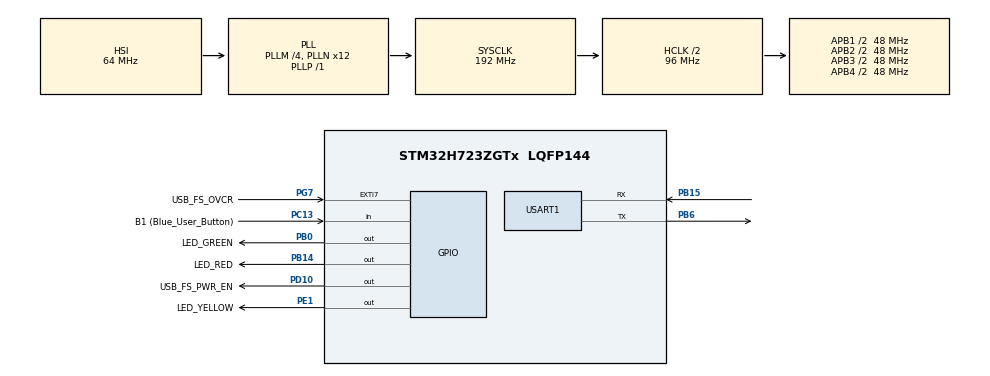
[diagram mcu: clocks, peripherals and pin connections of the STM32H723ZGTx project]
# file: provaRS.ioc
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Dma.Request0=USART1_RX
Dma.Request1=USART1_TX
Dma.USART1_RX.0.Direction=DMA_PERIPH_TO_MEMORY
Dma.USART1_RX.0.EventEnable=DISABLE
Dma.USART1_RX.0.FIFOMode=DMA_FIFOMODE_DISABLE
Dma.USART1_RX.0.Instance=DMA1_Stream0
Dma.USART1_RX.0.MemDataAlignment=DMA_MDATAALIGN_BYTE
Dma.USART1_RX.0.MemInc=DMA_MINC_ENABLE
Dma.USART1_RX.0.Mode=DMA_CIRCULAR
Dma.USART1_RX.0.PeriphDataAlignment=DMA_PDATAALIGN_BYTE
Dma.USART1_RX.0.PeriphInc=DMA_PINC_DISABLE
Dma.USART1_RX.0.Polarity=HAL_DMAMUX_REQ_GEN_RISING
Dma.USART1_RX.0.Priority=DMA_PRIORITY_LOW
Dma.USART1_RX.0.RequestNumber=1
Dma.USART1_RX.0.SignalID=NONE
Dma.USART1_RX.0.SyncEnable=DISABLE
Dma.USART1_RX.0.SyncPolarity=HAL_DMAMUX_SYNC_NO_EVENT
Dma.USART1_RX.0.SyncRequestNumber=1
Dma.USART1_RX.0.SyncSignalID=NONE
Dma.USART1_TX.1.Direction=DMA_MEMORY_TO_PERIPH
Dma.USART1_TX.1.EventEnable=DISABLE
Dma.USART1_TX.1.FIFOMode=DMA_FIFOMODE_DISABLE
Dma.USART1_TX.1.Instance=DMA1_Stream1
Dma.USART1_TX.1.MemDataAlignment=DMA_MDATAALIGN_BYTE
Dma.USART1_TX.1.MemInc=DMA_MINC_ENABLE
Dma.USART1_TX.1.Mode=DMA_NORMAL
Dma.USART1_TX.1.PeriphDataAlignment=DMA_PDATAALIGN_BYTE
Dma.USART1_TX.1.PeriphInc=DMA_PINC_DISABLE
Dma.USART1_TX.1.Polarity=HAL_DMAMUX_REQ_GEN_RISING
Dma.USART1_TX.1.Priority=DMA_PRIORITY_LOW
Dma.USART1_TX.1.RequestNumber=1
Dma.USART1_TX.1.SignalID=NONE
Dma.USART1_TX.1.SyncEnable=DISABLE
Dma.USART1_TX.1.SyncPolarity=HAL_DMAMUX_SYNC_NO_EVENT
Dma.USART1_TX.1.SyncRequestNumber=1
Dma.USART1_TX.1.SyncSignalID=NONE
Mcu.Family=STM32H7
Mcu.Name=STM32H723ZGTx
Mcu.Package=LQFP144
NVIC.DMA1_Stream0_IRQn=true\:0\:0\:false\:false\:true\:false\:true\:true
NVIC.DMA1_Stream1_IRQn=true\:0\:0\:false\:false\:true\:false\:true\:true
NVIC.PriorityGroup=NVIC_PRIORITYGROUP_4
NVIC.USART1_IRQn=true\:0\:0\:false\:false\:true\:true\:true\:true
PA1.GPIO_Label=RMII_REF_CLK
PA1.Signal=ETH_REF_CLK
PA10.GPIO_Label=USB_FS_ID
PA10.Signal=USB_OTG_HS_ID
PA13(JTMS/SWDIO).GPIO_Label=SWDIO
PA13(JTMS/SWDIO).Signal=DEBUG_JTMS-SWDIO
PA14(JTCK/SWCLK).GPIO_Label=SWCLK
PA14(JTCK/SWCLK).Signal=DEBUG_JTCK-SWCLK
PA2.GPIO_Label=RMII_MDIO
PA2.Signal=ETH_MDIO
PA7.GPIO_Label=RMII_CRS_DV
PA7.Signal=ETH_CRS_DV
PA9.GPIO_Label=USB_FS_VBUS
PA9.Signal=USB_OTG_HS_VBUS
PB0.GPIO_Label=LED_GREEN
PB0.Signal=GPIO_Output
PB13.GPIO_Label=RMII_TXD1
PB13.Signal=ETH_TXD1
PB14.GPIO_Label=LED_RED
PB14.Signal=GPIO_Output
PB15.Mode=Asynchronous
PB15.Signal=USART1_RX
PB3(JTDO/TRACESWO).GPIO_Label=SWO
PB3(JTDO/TRACESWO).Signal=DEBUG_JTDO-SWO
PB6.Mode=Asynchronous
PB6.Signal=USART1_TX
PC1.GPIO_Label=RMII_MDC
PC1.Signal=ETH_MDC
PC13.GPIO_Label=B1 (Blue_User_Button)
PC13.Signal=GPIO_Input
PC14-OSC32_IN.Signal=RCC_OSC32_IN
PC15-OSC32_OUT.Signal=RCC_OSC32_OUT
PC4.GPIO_Label=RMII_RXD0
PC4.Signal=ETH_RXD0
PC5.GPIO_Label=RMII_RXD1
PC5.Signal=ETH_RXD1
PD10.GPIO_Label=USB_FS_PWR_EN
PD10.Signal=GPIO_Output
PD8.GPIO_Label=STLK_VCP_RX
PD8.Signal=USART3_TX
PD9.GPIO_Label=STLK_VCP_TX
PD9.Signal=USART3_RX
PE1.GPIO_Label=LED_YELLOW
PE1.Signal=GPIO_Output
PG11.GPIO_Label=RMII_TX_EN
PG11.Signal=ETH_TX_EN
PG13.GPIO_Label=RMII_TXD0
PG13.Signal=ETH_TXD0
PG7.GPIO_Label=USB_FS_OVCR
PG7.Signal=GPXTI7
PH0-OSC_IN.GPIO_Label=MCO
PH0-OSC_IN.Signal=RCC_OSC_IN
PH1-OSC_OUT.Signal=RCC_OSC_OUT
ProjectManager.HeapSize=0x200
ProjectManager.StackSize=0x400
ProjectManager.TargetToolchain=STM32CubeIDE
RCC.ADCFreq_Value=608000000
RCC.APB1Freq_Value=48000000
RCC.APB2Freq_Value=48000000
RCC.APB3Freq_Value=48000000
RCC.APB4Freq_Value=48000000
RCC.CortexFreq_Value=192000000
RCC.D1PPRE=RCC_APB3_DIV2
RCC.D2PPRE1=RCC_APB1_DIV2
RCC.D2PPRE2=RCC_APB2_DIV2
RCC.D3PPRE=RCC_APB4_DIV2
RCC.DIVM1=4
RCC.DIVM2=1
RCC.DIVN1=12
RCC.DIVN2=19
RCC.DIVP1=1
RCC.DIVQ1=4
RCC.HCLKFreq_Value=96000000
RCC.HPRE=RCC_HCLK_DIV2
RCC.HSE_VALUE=8000000
RCC.PLLFRACN=0
RCC.SYSCLKFreq_VALUE=192000000
RCC.SYSCLKSource=RCC_SYSCLKSOURCE_PLLCLK
RCC.USBCLockSelection=RCC_USBCLKSOURCE_HSI48
RCC.USBFreq_Value=48000000
USART1.VirtualMode-Asynchronous=VM_ASYNC
board=NUCLEO-H723ZG

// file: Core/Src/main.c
/* USER CODE BEGIN Header */
/**
  ******************************************************************************
  * @file           : main.c
  * @brief          : Main program body
  ******************************************************************************
  * @attention
  *
  * Copyright (c) 2024 STMicroelectronics.
  * All rights reserved.
  *
  * This software is licensed under terms that can be found in the LICENSE file
  * in the root directory of this software component.
  * If no LICENSE file comes with this software, it is provided AS-IS.
  *
  ******************************************************************************
  */
/* USER CODE END Header */
#include "main.h"

/* USER CODE BEGIN Includes */
#include <string.h>
#include <stdio.h>
#include <math.h>
/* USER CODE END Includes */

UART_HandleTypeDef huart1;
DMA_HandleTypeDef hdma_usart1_rx;
DMA_HandleTypeDef hdma_usart1_tx;

/* USER CODE BEGIN PV */
#define UART_BUFFER_SIZE 16
__IO uint8_t uartBuffer[UART_BUFFER_SIZE];
//char uartBuffer[UART_BUFFER_SIZE];

/* USER CODE END PV */

void SystemClock_Config(void);
static void MX_GPIO_Init(void);
static void MX_DMA_Init(void);
static void MX_USART1_UART_Init(void);

/* USER CODE BEGIN 0 */
//char buffer_tx[UART_BUFFER_SIZE]="2~";
char *buffer_tx;

//char *write_command=buffer;

//lista comandi
char stop_distance_command[16]="%R8Q,2:\r";
char prism_search_command [16]="%R8Q,6:1\r";
char complete_prism_search_command [16]="%R8Q,6:2\r";
char get_time_stamp_command [18]="%R8Q,8:";
//char get_time_stamp_command[20];
char start_stream_command [16]="%R8Q,4:\r";
char stop_stream_command [16]="%R8Q,5:\r";
char client_time[10]="1603889027";

// init macchina a stati
int machine_state=1; //1 Ricerca Prisma // 2 Time Stamp // 3 Start Stream // 4 Stop Stream
//char machine_state;
int control =-1;
int control_1 =-1;
int t_1;//client time2
int t_2,t_3;//
char buffer_read[45];
char received_buffer[45];
char *trigger="%";

/* USER CODE END 0 */

int main(void)
{

  /* USER CODE BEGIN 1 */
	buffer_tx=stop_distance_command; //per agganciarsi
	//buffer_tx="~2";
	strcat(client_time, "\r");
	strcat(get_time_stamp_command, client_time);
	//sprintf(buffer, "%c",a);

  /* USER CODE END 1 */

  /* MCU Configuration--------------------------------------------------------*/

  /* Reset of all peripherals, Initializes the Flash interface and the Systick. */
  HAL_Init();

  /* Configure the system clock */
  SystemClock_Config();

  /* Initialize all configured peripherals */
  MX_GPIO_Init();
  MX_DMA_Init();
  MX_USART1_UART_Init();
  /* USER CODE BEGIN 2 */
  //memset((uint8_t *)&uartBuffer,0,sizeof(uartBuffer)); //Clear buffer
  //HAL_UART_Receive(&huart1, (uint8_t *)&uartBuffer, UART_BUFFER_SIZE,0);
  //HAL_UART_Receive_IT(&huart1, (uint8_t *)&uartBuffer, UART_BUFFER_SIZE);
  //HAL_UART_Receive(&huart1, (uint8_t *)&uartBuffer, UART_BUFFER_SIZE,0);
  //HAL_UART_Receive_DMA(&huart1, (uint8_t *)&uartBuffer, UART_BUFFER_SIZE);
  HAL_UART_Receive_DMA(&huart1, (uint8_t *)&uartBuffer, UART_BUFFER_SIZE);
  /* USER CODE END 2 */

  /* Infinite loop */
  /* USER CODE BEGIN WHILE */
  //uint16_t timer_time_1 =1000;
  int first_search=1;
  //int waited_time;
  HAL_GPIO_TogglePin(GPIOE, GPIO_PIN_1);
  while (1)
  {
    /* USER CODE END WHILE */

    /* USER CODE BEGIN 3 */

	  //HAL_UART_Transmit(&huart1, (uint8_t *)&uartBuffer, UART_BUFFER_SIZE,1);
	  //HAL_UART_Receive(&huart1, (uint8_t *)&uartBuffer, UART_BUFFER_SIZE,0);

	  //HAL_UART_Receive(&huart1, (uint8_t *)&uartBuffer, UART_BUFFER_SIZE,0);
	  //HAL_UART_Receive_IT(&huart1, (uint8_t *)&uartBuffer, UART_BUFFER_SIZE);

	  HAL_UART_Transmit(&huart1, (uint8_t *)buffer_tx, UART_BUFFER_SIZE,UART_BUFFER_SIZE); // ultimo valore è il timeout (ovvero dopo quanti baud si interrompe - con 0 mandava solo il 1° carattere)
	  HAL_Delay(1000);
	  HAL_GPIO_TogglePin(GPIOE, GPIO_PIN_1);
	  if (first_search==1){
		  buffer_tx=complete_prism_search_command;
		  first_search=0;
	  }
	  else{

		  buffer_tx=stop_distance_command;
		  first_search=1;
	  }
  }
  /* USER CODE END 3 */
}

void SystemClock_Config(void)
{
  RCC_OscInitTypeDef RCC_OscInitStruct = {0};
  RCC_ClkInitTypeDef RCC_ClkInitStruct = {0};

  /** Supply configuration update enable
  */
  HAL_PWREx_ConfigSupply(PWR_LDO_SUPPLY);

  /** Configure the main internal regulator output voltage
  */
  __HAL_PWR_VOLTAGESCALING_CONFIG(PWR_REGULATOR_VOLTAGE_SCALE2);

  while(!__HAL_PWR_GET_FLAG(PWR_FLAG_VOSRDY)) {}

  /** Initializes the RCC Oscillators according to the specified parameters
  * in the RCC_OscInitTypeDef structure.
  */
  RCC_OscInitStruct.OscillatorType = RCC_OSCILLATORTYPE_HSI;
  RCC_OscInitStruct.HSIState = RCC_HSI_DIV1;
  RCC_OscInitStruct.HSICalibrationValue = 64;
  RCC_OscInitStruct.PLL.PLLState = RCC_PLL_ON;
  RCC_OscInitStruct.PLL.PLLSource = RCC_PLLSOURCE_HSI;
  RCC_OscInitStruct.PLL.PLLM = 4;
  RCC_OscInitStruct.PLL.PLLN = 12;
  RCC_OscInitStruct.PLL.PLLP = 1;
  RCC_OscInitStruct.PLL.PLLQ = 4;
  RCC_OscInitStruct.PLL.PLLR = 2;
  RCC_OscInitStruct.PLL.PLLRGE = RCC_PLL1VCIRANGE_3;
  RCC_OscInitStruct.PLL.PLLVCOSEL = RCC_PLL1VCOWIDE;
  RCC_OscInitStruct.PLL.PLLFRACN = 0;
  if (HAL_RCC_OscConfig(&RCC_OscInitStruct) != HAL_OK)
  {
    Error_Handler();
  }

  /** Initializes the CPU, AHB and APB buses clocks
  */
  RCC_ClkInitStruct.ClockType = RCC_CLOCKTYPE_HCLK|RCC_CLOCKTYPE_SYSCLK
                              |RCC_CLOCKTYPE_PCLK1|RCC_CLOCKTYPE_PCLK2
                              |RCC_CLOCKTYPE_D3PCLK1|RCC_CLOCKTYPE_D1PCLK1;
  RCC_ClkInitStruct.SYSCLKSource = RCC_SYSCLKSOURCE_PLLCLK;
  RCC_ClkInitStruct.SYSCLKDivider = RCC_SYSCLK_DIV1;
  RCC_ClkInitStruct.AHBCLKDivider = RCC_HCLK_DIV2;
  RCC_ClkInitStruct.APB3CLKDivider = RCC_APB3_DIV2;
  RCC_ClkInitStruct.APB1CLKDivider = RCC_APB1_DIV2;
  RCC_ClkInitStruct.APB2CLKDivider = RCC_APB2_DIV2;
  RCC_ClkInitStruct.APB4CLKDivider = RCC_APB4_DIV2;

  if (HAL_RCC_ClockConfig(&RCC_ClkInitStruct, FLASH_LATENCY_1) != HAL_OK)
  {
    Error_Handler();
  }
}

static void MX_USART1_UART_Init(void)
{

  huart1.Instance = USART1;
  huart1.Init.BaudRate = 115200;
  huart1.Init.WordLength = UART_WORDLENGTH_8B;
  huart1.Init.StopBits = UART_STOPBITS_1;
  huart1.Init.Parity = UART_PARITY_NONE;
  huart1.Init.Mode = UART_MODE_TX_RX;
  huart1.Init.HwFlowCtl = UART_HWCONTROL_NONE;
  huart1.Init.OverSampling = UART_OVERSAMPLING_16;
  huart1.Init.OneBitSampling = UART_ONE_BIT_SAMPLE_DISABLE;
  huart1.Init.ClockPrescaler = UART_PRESCALER_DIV1;
  huart1.AdvancedInit.AdvFeatureInit = UART_ADVFEATURE_NO_INIT;
  if (HAL_UART_Init(&huart1) != HAL_OK)
  {
    Error_Handler();
  }
  if (HAL_UARTEx_SetTxFifoThreshold(&huart1, UART_TXFIFO_THRESHOLD_1_8) != HAL_OK)
  {
    Error_Handler();
  }
  if (HAL_UARTEx_SetRxFifoThreshold(&huart1, UART_RXFIFO_THRESHOLD_1_8) != HAL_OK)
  {
    Error_Handler();
  }
  if (HAL_UARTEx_DisableFifoMode(&huart1) != HAL_OK)
  {
    Error_Handler();
  }

}

static void MX_DMA_Init(void)
{

  /* DMA controller clock enable */
  __HAL_RCC_DMA1_CLK_ENABLE();

  /* DMA interrupt init */
  /* DMA1_Stream0_IRQn interrupt configuration */
  HAL_NVIC_SetPriority(DMA1_Stream0_IRQn, 0, 0);
  HAL_NVIC_EnableIRQ(DMA1_Stream0_IRQn);
  /* DMA1_Stream1_IRQn interrupt configuration */
  HAL_NVIC_SetPriority(DMA1_Stream1_IRQn, 0, 0);
  HAL_NVIC_EnableIRQ(DMA1_Stream1_IRQn);

}

static void MX_GPIO_Init(void)
{
  GPIO_InitTypeDef GPIO_InitStruct = {0};

  /* GPIO Ports Clock Enable */
  __HAL_RCC_GPIOC_CLK_ENABLE();
  __HAL_RCC_GPIOH_CLK_ENABLE();
  __HAL_RCC_GPIOA_CLK_ENABLE();
  __HAL_RCC_GPIOB_CLK_ENABLE();
  __HAL_RCC_GPIOD_CLK_ENABLE();
  __HAL_RCC_GPIOG_CLK_ENABLE();
  __HAL_RCC_GPIOE_CLK_ENABLE();

  /*Configure GPIO pin Output Level */
  HAL_GPIO_WritePin(GPIOB, LED_GREEN_Pin|LED_RED_Pin, GPIO_PIN_RESET);

  /*Configure GPIO pin Output Level */
  HAL_GPIO_WritePin(USB_FS_PWR_EN_GPIO_Port, USB_FS_PWR_EN_Pin, GPIO_PIN_RESET);

  /*Configure GPIO pin Output Level */
  HAL_GPIO_WritePin(LED_YELLOW_GPIO_Port, LED_YELLOW_Pin, GPIO_PIN_RESET);

  /*Configure GPIO pin : B1_Pin */
  GPIO_InitStruct.Pin = B1_Pin;
  GPIO_InitStruct.Mode = GPIO_MODE_INPUT;
  GPIO_InitStruct.Pull = GPIO_NOPULL;
  HAL_GPIO_Init(B1_GPIO_Port, &GPIO_InitStruct);

  /*Configure GPIO pins : RMII_MDC_Pin RMII_RXD0_Pin RMII_RXD1_Pin */
  GPIO_InitStruct.Pin = RMII_MDC_Pin|RMII_RXD0_Pin|RMII_RXD1_Pin;
  GPIO_InitStruct.Mode = GPIO_MODE_AF_PP;
  GPIO_InitStruct.Pull = GPIO_NOPULL;
  GPIO_InitStruct.Speed = GPIO_SPEED_FREQ_LOW;
  GPIO_InitStruct.Alternate = GPIO_AF11_ETH;
  HAL_GPIO_Init(GPIOC, &GPIO_InitStruct);

  /*Configure GPIO pins : RMII_REF_CLK_Pin RMII_MDIO_Pin RMII_CRS_DV_Pin */
  GPIO_InitStruct.Pin = RMII_REF_CLK_Pin|RMII_MDIO_Pin|RMII_CRS_DV_Pin;
  GPIO_InitStruct.Mode = GPIO_MODE_AF_PP;
  GPIO_InitStruct.Pull = GPIO_NOPULL;
  GPIO_InitStruct.Speed = GPIO_SPEED_FREQ_LOW;
  GPIO_InitStruct.Alternate = GPIO_AF11_ETH;
  HAL_GPIO_Init(GPIOA, &GPIO_InitStruct);

  /*Configure GPIO pins : LED_GREEN_Pin LED_RED_Pin */
  GPIO_InitStruct.Pin = LED_GREEN_Pin|LED_RED_Pin;
  GPIO_InitStruct.Mode = GPIO_MODE_OUTPUT_PP;
  GPIO_InitStruct.Pull = GPIO_NOPULL;
  GPIO_InitStruct.Speed = GPIO_SPEED_FREQ_LOW;
  HAL_GPIO_Init(GPIOB, &GPIO_InitStruct);

  /*Configure GPIO pin : RMII_TXD1_Pin */
  GPIO_InitStruct.Pin = RMII_TXD1_Pin;
  GPIO_InitStruct.Mode = GPIO_MODE_AF_PP;
  GPIO_InitStruct.Pull = GPIO_NOPULL;
  GPIO_InitStruct.Speed = GPIO_SPEED_FREQ_LOW;
  GPIO_InitStruct.Alternate = GPIO_AF11_ETH;
  HAL_GPIO_Init(RMII_TXD1_GPIO_Port, &GPIO_InitStruct);

  /*Configure GPIO pins : STLK_VCP_RX_Pin STLK_VCP_TX_Pin */
  GPIO_InitStruct.Pin = STLK_VCP_RX_Pin|STLK_VCP_TX_Pin;
  GPIO_InitStruct.Mode = GPIO_MODE_AF_PP;
  GPIO_InitStruct.Pull = GPIO_NOPULL;
  GPIO_InitStruct.Speed = GPIO_SPEED_FREQ_LOW;
  GPIO_InitStruct.Alternate = GPIO_AF7_USART3;
  HAL_GPIO_Init(GPIOD, &GPIO_InitStruct);

  /*Configure GPIO pin : USB_FS_PWR_EN_Pin */
  GPIO_InitStruct.Pin = USB_FS_PWR_EN_Pin;
  GPIO_InitStruct.Mode = GPIO_MODE_OUTPUT_PP;
  GPIO_InitStruct.Pull = GPIO_NOPULL;
  GPIO_InitStruct.Speed = GPIO_SPEED_FREQ_LOW;
  HAL_GPIO_Init(USB_FS_PWR_EN_GPIO_Port, &GPIO_InitStruct);

  /*Configure GPIO pin : USB_FS_OVCR_Pin */
  GPIO_InitStruct.Pin = USB_FS_OVCR_Pin;
  GPIO_InitStruct.Mode = GPIO_MODE_IT_RISING;
  GPIO_InitStruct.Pull = GPIO_NOPULL;
  HAL_GPIO_Init(USB_FS_OVCR_GPIO_Port, &GPIO_InitStruct);

  /*Configure GPIO pin : USB_FS_ID_Pin */
  GPIO_InitStruct.Pin = USB_FS_ID_Pin;
  GPIO_InitStruct.Mode = GPIO_MODE_AF_PP;
  GPIO_InitStruct.Pull = GPIO_NOPULL;
  GPIO_InitStruct.Speed = GPIO_SPEED_FREQ_LOW;
  GPIO_InitStruct.Alternate = GPIO_AF10_OTG1_HS;
  HAL_GPIO_Init(USB_FS_ID_GPIO_Port, &GPIO_InitStruct);

  /*Configure GPIO pins : RMII_TX_EN_Pin RMII_TXD0_Pin */
  GPIO_InitStruct.Pin = RMII_TX_EN_Pin|RMII_TXD0_Pin;
  GPIO_InitStruct.Mode = GPIO_MODE_AF_PP;
  GPIO_InitStruct.Pull = GPIO_NOPULL;
  GPIO_InitStruct.Speed = GPIO_SPEED_FREQ_LOW;
  GPIO_InitStruct.Alternate = GPIO_AF11_ETH;
  HAL_GPIO_Init(GPIOG, &GPIO_InitStruct);

  /*Configure GPIO pin : LED_YELLOW_Pin */
  GPIO_InitStruct.Pin = LED_YELLOW_Pin;
  GPIO_InitStruct.Mode = GPIO_MODE_OUTPUT_PP;
  GPIO_InitStruct.Pull = GPIO_NOPULL;
  GPIO_InitStruct.Speed = GPIO_SPEED_FREQ_LOW;
  HAL_GPIO_Init(LED_YELLOW_GPIO_Port, &GPIO_InitStruct);

}

void Error_Handler(void)
{
  __disable_irq();
  while (1)
  {
  }
}
